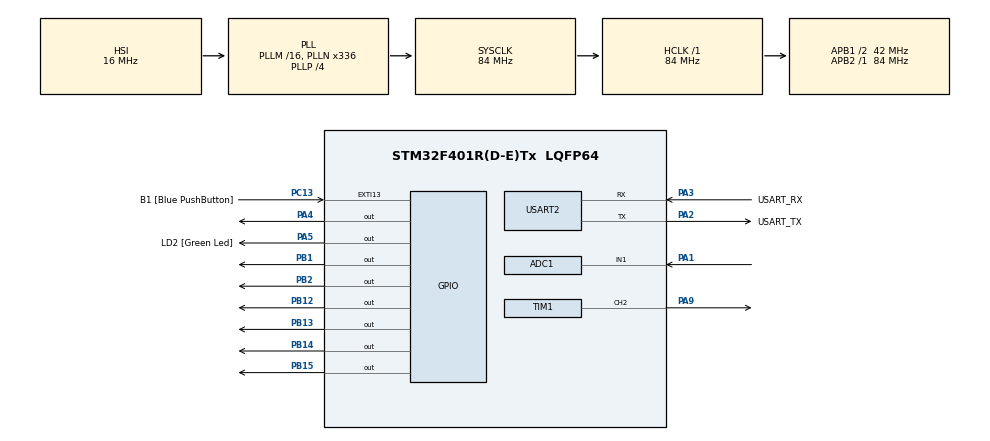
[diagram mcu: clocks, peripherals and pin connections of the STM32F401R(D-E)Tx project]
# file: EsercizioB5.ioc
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ADC1.Channel-0\#ChannelRegularConversion=ADC_CHANNEL_1
ADC1.ExternalTrigConv=ADC_EXTERNALTRIGCONV_T2_TRGO
ADC1.NbrOfConversionFlag=1
ADC1.Rank-0\#ChannelRegularConversion=1
ADC1.SamplingTime-0\#ChannelRegularConversion=ADC_SAMPLETIME_480CYCLES
ADC1.master=1
Mcu.Family=STM32F4
Mcu.Name=STM32F401R(D-E)Tx
Mcu.Package=LQFP64
NVIC.ADC_IRQn=true\:0\:0\:false\:false\:true\:true\:true\:true
NVIC.PriorityGroup=NVIC_PRIORITYGROUP_4
NVIC.TIM3_IRQn=true\:0\:0\:false\:false\:true\:true\:true\:true
PA1.Signal=ADCx_IN1
PA13.GPIO_Label=TMS
PA13.Mode=Trace_Asynchronous_SW
PA13.Signal=SYS_JTMS-SWDIO
PA14.GPIO_Label=TCK
PA14.Mode=Trace_Asynchronous_SW
PA14.Signal=SYS_JTCK-SWCLK
PA2.GPIO_Label=USART_TX
PA2.GPIO_Mode=GPIO_MODE_AF_PP
PA2.GPIO_PuPd=GPIO_NOPULL
PA2.GPIO_Speed=GPIO_SPEED_FREQ_LOW
PA2.Mode=Asynchronous
PA2.Signal=USART2_TX
PA3.GPIO_Label=USART_RX
PA3.GPIO_Mode=GPIO_MODE_AF_PP
PA3.GPIO_PuPd=GPIO_NOPULL
PA3.GPIO_Speed=GPIO_SPEED_FREQ_LOW
PA3.Mode=Asynchronous
PA3.Signal=USART2_RX
PA4.Signal=GPIO_Output
PA5.GPIO_Label=LD2 [Green Led]
PA5.GPIO_Mode=GPIO_MODE_OUTPUT_PP
PA5.GPIO_PuPd=GPIO_NOPULL
PA5.GPIO_Speed=GPIO_SPEED_FREQ_LOW
PA5.Signal=GPIO_Output
PA9.Signal=S_TIM1_CH2
PB1.Signal=GPIO_Output
PB12.Signal=GPIO_Output
PB13.Signal=GPIO_Output
PB14.Signal=GPIO_Output
PB15.Signal=GPIO_Output
PB2.Signal=GPIO_Output
PB3.GPIO_Label=SWO
PB3.Mode=Trace_Asynchronous_SW
PB3.Signal=SYS_JTDO-SWO
PC13-ANTI_TAMP.GPIO_Label=B1 [Blue PushButton]
PC13-ANTI_TAMP.GPIO_ModeDefaultEXTI=GPIO_MODE_IT_FALLING
PC13-ANTI_TAMP.GPIO_PuPd=GPIO_NOPULL
PC13-ANTI_TAMP.Signal=GPXTI13
PC14-OSC32_IN.Mode=LSE-External-Oscillator
PC14-OSC32_IN.Signal=RCC_OSC32_IN
PC15-OSC32_OUT.Mode=LSE-External-Oscillator
PC15-OSC32_OUT.Signal=RCC_OSC32_OUT
PH0\ -\ OSC_IN.Mode=HSE-External-Clock-Source
PH0\ -\ OSC_IN.Signal=RCC_OSC_IN
PH1\ -\ OSC_OUT.Mode=HSE-External-Clock-Source
PH1\ -\ OSC_OUT.Signal=RCC_OSC_OUT
ProjectManager.HeapSize=0x200
ProjectManager.StackSize=0x400
ProjectManager.TargetToolchain=STM32CubeIDE
RCC.48MHZClocksFreq_Value=48000000
RCC.AHBFreq_Value=84000000
RCC.APB1CLKDivider=RCC_HCLK_DIV2
RCC.APB1Freq_Value=42000000
RCC.APB1TimFreq_Value=84000000
RCC.APB2Freq_Value=84000000
RCC.APB2TimFreq_Value=84000000
RCC.CortexFreq_Value=84000000
RCC.HCLKFreq_Value=84000000
RCC.HSE_VALUE=8000000
RCC.HSI_VALUE=16000000
RCC.PLLN=336
RCC.PLLP=RCC_PLLP_DIV4
RCC.PLLQ=7
RCC.SYSCLKFreq_VALUE=84000000
RCC.SYSCLKSource=RCC_SYSCLKSOURCE_PLLCLK
RCC.VCOOutputFreq_Value=336000000
SH.ADCx_IN1.0=ADC1_IN1,IN1
SH.S_TIM1_CH2.0=TIM1_CH2,PWM Generation2 CH2
TIM1.Channel-PWM\ Generation2\ CH2=TIM_CHANNEL_2
TIM1.Period=1909
TIM1.Prescaler=99
TIM1.Pulse-PWM\ Generation2\ CH2=954
TIM2.Period=839999
TIM2.Prescaler=99
TIM2.TIM_MasterOutputTrigger=TIM_TRGO_UPDATE
TIM3.AutoReloadPreload=TIM_AUTORELOAD_PRELOAD_ENABLE
TIM3.Period=8399
TIM3.Prescaler=9999
USART2.VirtualMode=VM_ASYNC
VP_TIM1_VS_ClockSourceINT.Mode=Internal
VP_TIM2_VS_ClockSourceINT.Mode=Internal
VP_TIM3_VS_ClockSourceINT.Mode=Internal
board=NUCLEO-F401RE

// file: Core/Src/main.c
/* USER CODE BEGIN Header */
/**
  ******************************************************************************
  * @file           : main.c
  * @brief          : Main program body
  ******************************************************************************
  * @attention
  *
  * Copyright (c) 2026 STMicroelectronics.
  * All rights reserved.
  *
  * This software is licensed under terms that can be found in the LICENSE file
  * in the root directory of this software component.
  * If no LICENSE file comes with this software, it is provided AS-IS.
  *
  ******************************************************************************
  */
/* USER CODE END Header */
#include "main.h"

/* USER CODE BEGIN Includes */
#include "PMDB16_LCD.h"
#include "stdio.h"
#include "string.h"

/* USER CODE END Includes */

ADC_HandleTypeDef hadc1;

TIM_HandleTypeDef htim1;
TIM_HandleTypeDef htim2;
TIM_HandleTypeDef htim3;

UART_HandleTypeDef huart2;

/* USER CODE BEGIN PV */
uint32_t adc_value=0;
float voltage=0.0;
char string[16];
int bar_value=0;
int burst=1;

int bpm=60;

/* USER CODE END PV */

void SystemClock_Config(void);
static void MX_GPIO_Init(void);
static void MX_USART2_UART_Init(void);
static void MX_ADC1_Init(void);
static void MX_TIM2_Init(void);
static void MX_TIM1_Init(void);
static void MX_TIM3_Init(void);

/* USER CODE BEGIN 0 */
void HAL_ADC_ConvCpltCallback(ADC_HandleTypeDef *hadc)
{
    adc_value = HAL_ADC_GetValue(hadc);
    voltage = ((float)adc_value * 3.3f) / 4095.0f;

    sprintf(string, "Value: %.2f V", voltage);

    bar_value = (int)((voltage / 3.3f) * 80.0f);   // 0-80

    bpm=(int)((voltage/3.3f)*160+40);

    int arr=(int)((8400*60)/(2*bpm));

    lcd_clear();
	lcd_println(string, 0);   // testo sulla riga superiore
    lcd_drawBar(bar_value);   // barra sulla riga inferiore

    __HAL_TIM_SET_AUTORELOAD(&htim3, arr - 1);

}

void HAL_TIM_PeriodElapsedCallback(TIM_HandleTypeDef *htim)
{
	if(htim->Instance == TIM3){  // Metronomo*2
		if(burst){
			HAL_TIM_PWM_Start(&htim1, TIM_CHANNEL_2);
			HAL_GPIO_WritePin(GPIOA, GPIO_PIN_5, GPIO_PIN_SET);
			burst=0;
		}else{
			HAL_TIM_PWM_Stop(&htim1, TIM_CHANNEL_2);
			HAL_GPIO_WritePin(GPIOA, GPIO_PIN_5, GPIO_PIN_RESET);
			burst=1;
		}
	}
}

/* USER CODE END 0 */

int main(void)
{

  /* MCU Configuration--------------------------------------------------------*/

  /* Reset of all peripherals, Initializes the Flash interface and the Systick. */
  HAL_Init();

  /* Configure the system clock */
  SystemClock_Config();

  /* Initialize all configured peripherals */
  MX_GPIO_Init();
  MX_USART2_UART_Init();
  MX_ADC1_Init();
  MX_TIM2_Init();
  MX_TIM1_Init();
  MX_TIM3_Init();
  /* USER CODE BEGIN 2 */
  HAL_TIM_Base_Start(&htim2); // Timer 2 (Trigger ADC)
  HAL_ADC_Start_IT(&hadc1);   // ADC (Interrupt Mode)
  lcd_initialize();           // LCD
  lcd_backlight_ON();

  HAL_TIM_Base_Start_IT(&htim3);

  /* USER CODE END 2 */

  /* Infinite loop */
  while (1)
  {

  }
}

void SystemClock_Config(void)
{
  RCC_OscInitTypeDef RCC_OscInitStruct = {0};
  RCC_ClkInitTypeDef RCC_ClkInitStruct = {0};

  /** Configure the main internal regulator output voltage
  */
  __HAL_RCC_PWR_CLK_ENABLE();
  __HAL_PWR_VOLTAGESCALING_CONFIG(PWR_REGULATOR_VOLTAGE_SCALE2);

  /** Initializes the RCC Oscillators according to the specified parameters
  * in the RCC_OscInitTypeDef structure.
  */
  RCC_OscInitStruct.OscillatorType = RCC_OSCILLATORTYPE_HSI;
  RCC_OscInitStruct.HSIState = RCC_HSI_ON;
  RCC_OscInitStruct.HSICalibrationValue = RCC_HSICALIBRATION_DEFAULT;
  RCC_OscInitStruct.PLL.PLLState = RCC_PLL_ON;
  RCC_OscInitStruct.PLL.PLLSource = RCC_PLLSOURCE_HSI;
  RCC_OscInitStruct.PLL.PLLM = 16;
  RCC_OscInitStruct.PLL.PLLN = 336;
  RCC_OscInitStruct.PLL.PLLP = RCC_PLLP_DIV4;
  RCC_OscInitStruct.PLL.PLLQ = 7;
  if (HAL_RCC_OscConfig(&RCC_OscInitStruct) != HAL_OK)
  {
    Error_Handler();
  }

  /** Initializes the CPU, AHB and APB buses clocks
  */
  RCC_ClkInitStruct.ClockType = RCC_CLOCKTYPE_HCLK|RCC_CLOCKTYPE_SYSCLK
                              |RCC_CLOCKTYPE_PCLK1|RCC_CLOCKTYPE_PCLK2;
  RCC_ClkInitStruct.SYSCLKSource = RCC_SYSCLKSOURCE_PLLCLK;
  RCC_ClkInitStruct.AHBCLKDivider = RCC_SYSCLK_DIV1;
  RCC_ClkInitStruct.APB1CLKDivider = RCC_HCLK_DIV2;
  RCC_ClkInitStruct.APB2CLKDivider = RCC_HCLK_DIV1;

  if (HAL_RCC_ClockConfig(&RCC_ClkInitStruct, FLASH_LATENCY_2) != HAL_OK)
  {
    Error_Handler();
  }
}

static void MX_ADC1_Init(void)
{

  ADC_ChannelConfTypeDef sConfig = {0};

  /** Configure the global features of the ADC (Clock, Resolution, Data Alignment and number of conversion)
  */
  hadc1.Instance = ADC1;
  hadc1.Init.ClockPrescaler = ADC_CLOCK_SYNC_PCLK_DIV4;
  hadc1.Init.Resolution = ADC_RESOLUTION_12B;
  hadc1.Init.ScanConvMode = DISABLE;
  hadc1.Init.ContinuousConvMode = DISABLE;
  hadc1.Init.DiscontinuousConvMode = DISABLE;
  hadc1.Init.ExternalTrigConvEdge = ADC_EXTERNALTRIGCONVEDGE_RISING;
  hadc1.Init.ExternalTrigConv = ADC_EXTERNALTRIGCONV_T2_TRGO;
  hadc1.Init.DataAlign = ADC_DATAALIGN_RIGHT;
  hadc1.Init.NbrOfConversion = 1;
  hadc1.Init.DMAContinuousRequests = DISABLE;
  hadc1.Init.EOCSelection = ADC_EOC_SINGLE_CONV;
  if (HAL_ADC_Init(&hadc1) != HAL_OK)
  {
    Error_Handler();
  }

  /** Configure for the selected ADC regular channel its corresponding rank in the sequencer and its sample time.
  */
  sConfig.Channel = ADC_CHANNEL_1;
  sConfig.Rank = 1;
  sConfig.SamplingTime = ADC_SAMPLETIME_480CYCLES;
  if (HAL_ADC_ConfigChannel(&hadc1, &sConfig) != HAL_OK)
  {
    Error_Handler();
  }

}

static void MX_TIM1_Init(void)
{

  TIM_ClockConfigTypeDef sClockSourceConfig = {0};
  TIM_MasterConfigTypeDef sMasterConfig = {0};
  TIM_OC_InitTypeDef sConfigOC = {0};
  TIM_BreakDeadTimeConfigTypeDef sBreakDeadTimeConfig = {0};

  htim1.Instance = TIM1;
  htim1.Init.Prescaler = 99;
  htim1.Init.CounterMode = TIM_COUNTERMODE_UP;
  htim1.Init.Period = 1909;
  htim1.Init.ClockDivision = TIM_CLOCKDIVISION_DIV1;
  htim1.Init.RepetitionCounter = 0;
  htim1.Init.AutoReloadPreload = TIM_AUTORELOAD_PRELOAD_DISABLE;
  if (HAL_TIM_Base_Init(&htim1) != HAL_OK)
  {
    Error_Handler();
  }
  sClockSourceConfig.ClockSource = TIM_CLOCKSOURCE_INTERNAL;
  if (HAL_TIM_ConfigClockSource(&htim1, &sClockSourceConfig) != HAL_OK)
  {
    Error_Handler();
  }
  if (HAL_TIM_PWM_Init(&htim1) != HAL_OK)
  {
    Error_Handler();
  }
  sMasterConfig.MasterOutputTrigger = TIM_TRGO_RESET;
  sMasterConfig.MasterSlaveMode = TIM_MASTERSLAVEMODE_DISABLE;
  if (HAL_TIMEx_MasterConfigSynchronization(&htim1, &sMasterConfig) != HAL_OK)
  {
    Error_Handler();
  }
  sConfigOC.OCMode = TIM_OCMODE_PWM1;
  sConfigOC.Pulse = 954;
  sConfigOC.OCPolarity = TIM_OCPOLARITY_HIGH;
  sConfigOC.OCNPolarity = TIM_OCNPOLARITY_HIGH;
  sConfigOC.OCFastMode = TIM_OCFAST_DISABLE;
  sConfigOC.OCIdleState = TIM_OCIDLESTATE_RESET;
  sConfigOC.OCNIdleState = TIM_OCNIDLESTATE_RESET;
  if (HAL_TIM_PWM_ConfigChannel(&htim1, &sConfigOC, TIM_CHANNEL_2) != HAL_OK)
  {
    Error_Handler();
  }
  sBreakDeadTimeConfig.OffStateRunMode = TIM_OSSR_DISABLE;
  sBreakDeadTimeConfig.OffStateIDLEMode = TIM_OSSI_DISABLE;
  sBreakDeadTimeConfig.LockLevel = TIM_LOCKLEVEL_OFF;
  sBreakDeadTimeConfig.DeadTime = 0;
  sBreakDeadTimeConfig.BreakState = TIM_BREAK_DISABLE;
  sBreakDeadTimeConfig.BreakPolarity = TIM_BREAKPOLARITY_HIGH;
  sBreakDeadTimeConfig.AutomaticOutput = TIM_AUTOMATICOUTPUT_DISABLE;
  if (HAL_TIMEx_ConfigBreakDeadTime(&htim1, &sBreakDeadTimeConfig) != HAL_OK)
  {
    Error_Handler();
  }
  HAL_TIM_MspPostInit(&htim1);

}

static void MX_TIM2_Init(void)
{

  TIM_ClockConfigTypeDef sClockSourceConfig = {0};
  TIM_MasterConfigTypeDef sMasterConfig = {0};

  htim2.Instance = TIM2;
  htim2.Init.Prescaler = 99;
  htim2.Init.CounterMode = TIM_COUNTERMODE_UP;
  htim2.Init.Period = 839999;
  htim2.Init.ClockDivision = TIM_CLOCKDIVISION_DIV1;
  htim2.Init.AutoReloadPreload = TIM_AUTORELOAD_PRELOAD_DISABLE;
  if (HAL_TIM_Base_Init(&htim2) != HAL_OK)
  {
    Error_Handler();
  }
  sClockSourceConfig.ClockSource = TIM_CLOCKSOURCE_INTERNAL;
  if (HAL_TIM_ConfigClockSource(&htim2, &sClockSourceConfig) != HAL_OK)
  {
    Error_Handler();
  }
  sMasterConfig.MasterOutputTrigger = TIM_TRGO_UPDATE;
  sMasterConfig.MasterSlaveMode = TIM_MASTERSLAVEMODE_DISABLE;
  if (HAL_TIMEx_MasterConfigSynchronization(&htim2, &sMasterConfig) != HAL_OK)
  {
    Error_Handler();
  }

}

static void MX_TIM3_Init(void)
{

  TIM_ClockConfigTypeDef sClockSourceConfig = {0};
  TIM_MasterConfigTypeDef sMasterConfig = {0};

  htim3.Instance = TIM3;
  htim3.Init.Prescaler = 9999;
  htim3.Init.CounterMode = TIM_COUNTERMODE_UP;
  htim3.Init.Period = 8399;
  htim3.Init.ClockDivision = TIM_CLOCKDIVISION_DIV1;
  htim3.Init.AutoReloadPreload = TIM_AUTORELOAD_PRELOAD_ENABLE;
  if (HAL_TIM_Base_Init(&htim3) != HAL_OK)
  {
    Error_Handler();
  }
  sClockSourceConfig.ClockSource = TIM_CLOCKSOURCE_INTERNAL;
  if (HAL_TIM_ConfigClockSource(&htim3, &sClockSourceConfig) != HAL_OK)
  {
    Error_Handler();
  }
  sMasterConfig.MasterOutputTrigger = TIM_TRGO_RESET;
  sMasterConfig.MasterSlaveMode = TIM_MASTERSLAVEMODE_DISABLE;
  if (HAL_TIMEx_MasterConfigSynchronization(&htim3, &sMasterConfig) != HAL_OK)
  {
    Error_Handler();
  }

}

static void MX_USART2_UART_Init(void)
{

  huart2.Instance = USART2;
  huart2.Init.BaudRate = 115200;
  huart2.Init.WordLength = UART_WORDLENGTH_8B;
  huart2.Init.StopBits = UART_STOPBITS_1;
  huart2.Init.Parity = UART_PARITY_NONE;
  huart2.Init.Mode = UART_MODE_TX_RX;
  huart2.Init.HwFlowCtl = UART_HWCONTROL_NONE;
  huart2.Init.OverSampling = UART_OVERSAMPLING_16;
  if (HAL_UART_Init(&huart2) != HAL_OK)
  {
    Error_Handler();
  }

}

static void MX_GPIO_Init(void)
{
  GPIO_InitTypeDef GPIO_InitStruct = {0};

  /* GPIO Ports Clock Enable */
  __HAL_RCC_GPIOC_CLK_ENABLE();
  __HAL_RCC_GPIOH_CLK_ENABLE();
  __HAL_RCC_GPIOA_CLK_ENABLE();
  __HAL_RCC_GPIOB_CLK_ENABLE();

  /*Configure GPIO pin Output Level */
  HAL_GPIO_WritePin(GPIOA, GPIO_PIN_4|LD2_Pin, GPIO_PIN_RESET);

  /*Configure GPIO pin Output Level */
  HAL_GPIO_WritePin(GPIOB, GPIO_PIN_1|GPIO_PIN_2|GPIO_PIN_12|GPIO_PIN_13
                          |GPIO_PIN_14|GPIO_PIN_15, GPIO_PIN_RESET);

  /*Configure GPIO pin : B1_Pin */
  GPIO_InitStruct.Pin = B1_Pin;
  GPIO_InitStruct.Mode = GPIO_MODE_IT_FALLING;
  GPIO_InitStruct.Pull = GPIO_NOPULL;
  HAL_GPIO_Init(B1_GPIO_Port, &GPIO_InitStruct);

  /*Configure GPIO pins : PA4 LD2_Pin */
  GPIO_InitStruct.Pin = GPIO_PIN_4|LD2_Pin;
  GPIO_InitStruct.Mode = GPIO_MODE_OUTPUT_PP;
  GPIO_InitStruct.Pull = GPIO_NOPULL;
  GPIO_InitStruct.Speed = GPIO_SPEED_FREQ_LOW;
  HAL_GPIO_Init(GPIOA, &GPIO_InitStruct);

  /*Configure GPIO pins : PB1 PB2 PB12 PB13
                           PB14 PB15 */
  GPIO_InitStruct.Pin = GPIO_PIN_1|GPIO_PIN_2|GPIO_PIN_12|GPIO_PIN_13
                          |GPIO_PIN_14|GPIO_PIN_15;
  GPIO_InitStruct.Mode = GPIO_MODE_OUTPUT_PP;
  GPIO_InitStruct.Pull = GPIO_NOPULL;
  GPIO_InitStruct.Speed = GPIO_SPEED_FREQ_LOW;
  HAL_GPIO_Init(GPIOB, &GPIO_InitStruct);

}

void Error_Handler(void)
{
  __disable_irq();
  while (1)
  {
  }
}
